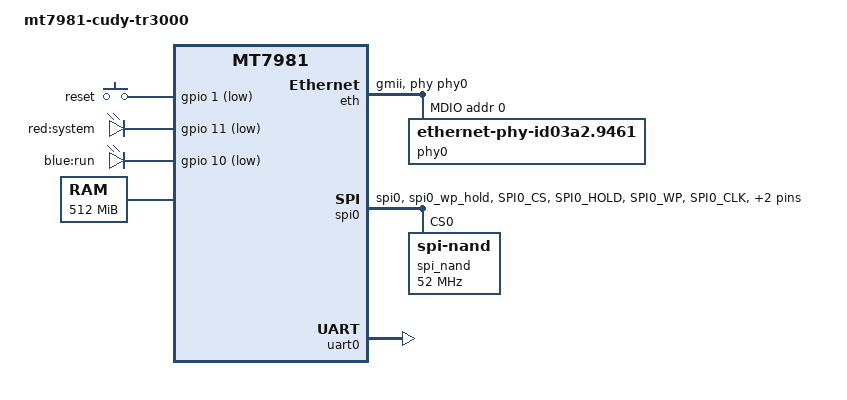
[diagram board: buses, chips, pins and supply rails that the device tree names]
// SPDX-License-Identifier: GPL-2.0
/*
 * Copyright (c) 2021 MediaTek Inc.
 * Author: Sam Shih <sam.shih@mediatek.com>
 */

/dts-v1/;
#include "mt7981.dtsi"
#include <dt-bindings/gpio/gpio.h>

/ {
	#address-cells = <1>;
	#size-cells = <1>;
	model = "mt7981-cudy-tr3000";
	compatible = "mediatek,mt7981", "mediatek,mt7981-rfb";
	chosen {
		stdout-path = &uart0;
		tick-timer = &timer0;
	};

	config {
		bootcmd = "mtkboardboot";
		blink_led = "blue:run";
		system_led = "red:system";
	};

	mtd-layout {
		layout@0 {
			label = "default";
			// mtd layout for cudy stock ubi or openwrt-stock/immortalwrt-stock firmware
			cmdline = "console=ttyS0,115200n1 loglevel=8 swiotlb=512 firmware=0 mtd=ubi uart_en=1";
			mtdids = "nmbm0=nmbm0";
			mtdparts = "nmbm0:1024k(bl2),512k(u-boot-env),2048k(factory),256k(bdinfo),2048k(fip),65536k(ubi)";

		};

		layout@1 {
			label = "mod-112m";
			// mtd layout for immortalwrt/openwrt 112M ubi firmware
			mtdids = "nmbm0=nmbm0";
			mtdparts = "nmbm0:1024k(bl2),512k(u-boot-env),2048k(factory),256k(bdinfo),2048k(fip),114688k(ubi)";
		};
		
		layout@2 {
			label = "maximum-114m";
			// mtd layout for immortalwrt/openwrt 114M ubi firmware
			mtdids = "nmbm0=nmbm0";
			mtdparts = "nmbm0:1024k(bl2),512k(u-boot-env),2048k(factory),256k(bdinfo),2048k(fip),116736k(ubi)";
		};
	};

	gpio-keys {
		compatible = "gpio-keys";

		button-reset {
			label = "reset";
			linux,code = <KEY_RESTART>;
			gpios = <&gpio 1 GPIO_ACTIVE_LOW>;
		};
	};

	gpio-leds {
		compatible = "gpio-leds";

		led-0 {
			label = "red:system";
			gpios = <&gpio 11 GPIO_ACTIVE_LOW>;
		};

		led-1 {
			label = "blue:run";
			gpios = <&gpio 10 GPIO_ACTIVE_LOW>;
		};
	};

	memory@40000000 {
		device_type = "memory";
		reg = <0x40000000 0x20000000>;
	};

	bl2_verify {
		bl2_compatible = "spim-nand";
	};
};

&eth {
	status = "okay";
	mediatek,gmac-id = <1>;
	phy-mode = "gmii";
	phy-handle = <&phy0>;

	mdio {
		phy0: ethernet-phy@0 {
			compatible = "ethernet-phy-id03a2.9461";
			reg = <0x0>;
			phy-mode = "gmii";
		};
	};
};

&pinctrl {
	spi_flash_pins: spi0-pins-func-1 {
		mux {
			function = "flash";
			groups = "spi0", "spi0_wp_hold";
		};

		conf-pu {
			pins = "SPI0_CS", "SPI0_HOLD", "SPI0_WP";
			drive-strength = <MTK_DRIVE_8mA>;
			bias-pull-up = <MTK_PUPD_SET_R1R0_11>;
		};

		conf-pd {
			pins = "SPI0_CLK", "SPI0_MOSI", "SPI0_MISO";
			drive-strength = <MTK_DRIVE_8mA>;
			bias-pull-down = <MTK_PUPD_SET_R1R0_11>;
		};
	};
};

&spi0 {
	#address-cells = <1>;
	#size-cells = <0>;
	pinctrl-names = "default";
	pinctrl-0 = <&spi_flash_pins>;
	status = "okay";
	must_tx;
	enhance_timing;
	dma_ext;
	ipm_design;
	support_quad;
	tick_dly = <2>;
	sample_sel = <0>;

	spi_nand@0 {
		compatible = "spi-nand";
		reg = <0>;
		spi-max-frequency = <52000000>;
	};
};

&uart0 {
	status = "okay";
};

&watchdog {
	status = "disabled";
};
